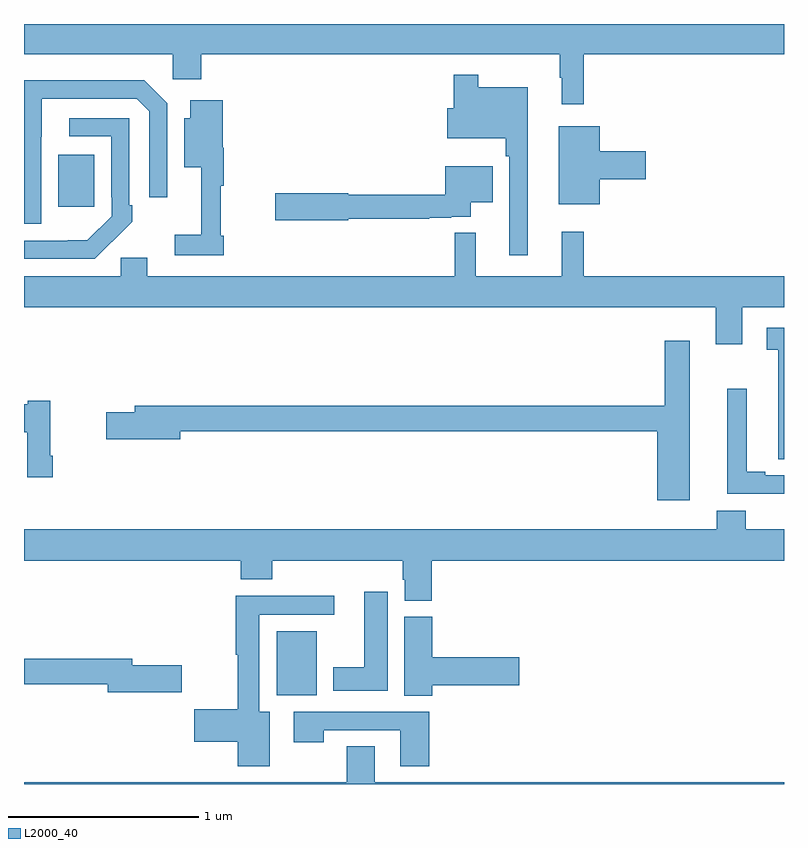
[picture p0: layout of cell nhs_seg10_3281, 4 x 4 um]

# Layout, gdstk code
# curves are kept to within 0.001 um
import gdstk
lib = gdstk.Library(unit=1e-6, precision=1e-09)
def R(c, l, rs):  # rectangles x0, y0, x1, y1
    for r in rs: c.add(gdstk.rectangle(r[:2], r[2:], *l))
def P(c, l, *ps):  # polygons
    for p in ps: c.add(gdstk.Polygon(p, *l))
L2000_40 = (2000, 40)

nhs_seg10_3281 = lib.new_cell('nhs_seg10_3281')
R(nhs_seg10_3281, L2000_40, [(290.33,1272.968,290.542,1273.303), (289.181,1275.537,289.369,1275.811)])
P(nhs_seg10_3281, L2000_40, [(291.947,1276.34),(293,1276.34),(293,1276.5),(289,1276.5),(289,1276.34),(289.782,1276.34),(289.782,1276.209),(289.934,1276.209),(289.934,1276.34),(291.819,1276.34),(291.819,1276.217),(291.83,1276.217),(291.83,1276.077),(291.947,1276.077)],
  [(291.652,1276.168),(291.391,1276.168),(291.391,1276.234),(291.262,1276.234),(291.262,1276.057),(291.228,1276.057),(291.228,1275.899),(291.535,1275.899),(291.535,1275.803),(291.555,1275.803),(291.555,1275.282),(291.652,1275.282)],
  [(289.092,1275.907),(289.093,1275.907),(289.093,1276.107),(289.593,1276.107),(289.659,1276.041),(289.659,1275.588),(289.755,1275.588),(289.755,1276.083),(289.634,1276.204),(289,1276.204),(289,1275.45),(289.092,1275.45)],
  [(290.051,1275.385),(290.036,1275.385),(290.036,1275.65),(290.051,1275.65),(290.051,1275.85),(290.045,1275.85),(290.045,1276.099),(289.874,1276.099),(289.874,1276.003),(289.844,1276.003),(289.844,1275.746),(289.934,1275.746),(289.934,1275.391),(289.794,1275.391),(289.794,1275.282),(290.051,1275.282)],
  [(289.463,1275.355),(289.464,1275.354),(289.569,1275.459),(289.569,1275.547),(289.554,1275.547),(289.554,1276.005),(289.239,1276.005),(289.239,1275.909),(289.458,1275.909),(289.458,1275.589),(289.461,1275.589),(289.461,1275.489),(289.333,1275.361),(289,1275.36),(289,1275.264),(289.372,1275.264)],
  [(292.03,1275.683),(292.273,1275.683),(292.273,1275.83),(292.03,1275.83),(292.03,1275.961),(291.815,1275.961),(291.815,1275.551),(292.03,1275.551)],
  [(290.706,1275.474),(291.134,1275.474),(291.134,1275.48),(291.248,1275.48),(291.248,1275.486),(291.352,1275.486),(291.352,1275.563),(291.466,1275.563),(291.466,1275.751),(291.218,1275.751),(291.218,1275.602),(290.706,1275.602),(290.706,1275.608),(290.322,1275.608),(290.322,1275.466),(290.706,1275.466)],
  [(289.509,1275.27),(289.509,1275.172),(289,1275.172),(289,1275.008),(292.64,1275.008),(292.64,1274.814),(292.78,1274.814),(292.78,1275.008),(293,1275.008),(293,1275.172),(291.947,1275.172),(291.947,1275.406),(291.83,1275.406),(291.83,1275.172),(291.377,1275.172),(291.377,1275.401),(291.268,1275.401),(291.268,1275.172),(289.648,1275.172),(289.648,1275.27)],
  [(293,1274.901),(292.908,1274.901),(292.908,1274.785),(292.97,1274.785),(292.97,1274.209),(293,1274.209)],
  [(292.504,1274.833),(292.373,1274.833),(292.373,1274.492),(289.583,1274.492),(289.583,1274.456),(289.434,1274.456),(289.434,1274.314),(289.822,1274.314),(289.822,1274.356),(292.334,1274.356),(292.334,1273.994),(292.504,1273.994)],
  [(293,1274.124),(292.9,1274.124),(292.9,1274.144),(292.804,1274.144),(292.804,1274.581),(292.7,1274.581),(292.7,1274.028),(293,1274.028)],
  [(289.151,1274.227),(289.138,1274.227),(289.138,1274.516),(289.02,1274.516),(289.02,1274.498),(289,1274.498),(289,1274.351),(289.016,1274.351),(289.016,1274.115),(289.151,1274.115)],
  [(291.146,1273.676),(293,1273.676),(293,1273.84),(292.798,1273.84),(292.798,1273.939),(292.646,1273.939),(292.646,1273.84),(289,1273.84),(289,1273.676),(290.141,1273.676),(290.141,1273.577),(290.306,1273.577),(290.306,1273.676),(290.993,1273.676),(290.993,1273.575),(291.005,1273.575),(291.005,1273.465),(291.146,1273.465)],
  [(290.914,1273.513),(290.792,1273.513),(290.792,1273.114),(290.627,1273.114),(290.627,1272.992),(290.914,1272.992)],
  [(290.293,1272.88),(290.239,1272.88),(290.239,1273.392),(290.632,1273.392),(290.632,1273.49),(290.114,1273.49),(290.114,1273.181),(290.126,1273.181),(290.126,1272.893),(289.896,1272.893),(289.896,1272.722),(290.126,1272.722),(290.126,1272.594),(290.293,1272.594)],
  [(291.149,1273.019),(291.607,1273.019),(291.607,1273.166),(291.149,1273.166),(291.149,1273.38),(291.002,1273.38),(291.002,1272.964),(291.149,1272.964)],
  [(289.831,1273.124),(289.57,1273.124),(289.57,1273.16),(289,1273.16),(289,1273.024),(289.442,1273.024),(289.442,1272.982),(289.831,1272.982)],
  [(291.134,1272.879),(290.421,1272.879),(290.421,1272.72),(290.577,1272.72),(290.577,1272.783),(290.981,1272.783),(290.981,1272.594),(291.134,1272.594)],
  [(293,1272.508),(290.845,1272.508),(290.845,1272.698),(290.698,1272.698),(290.698,1272.508),(289,1272.508),(289,1272.5),(293,1272.5)])

lib.write_gds('nhs_seg10_3281.gds')
